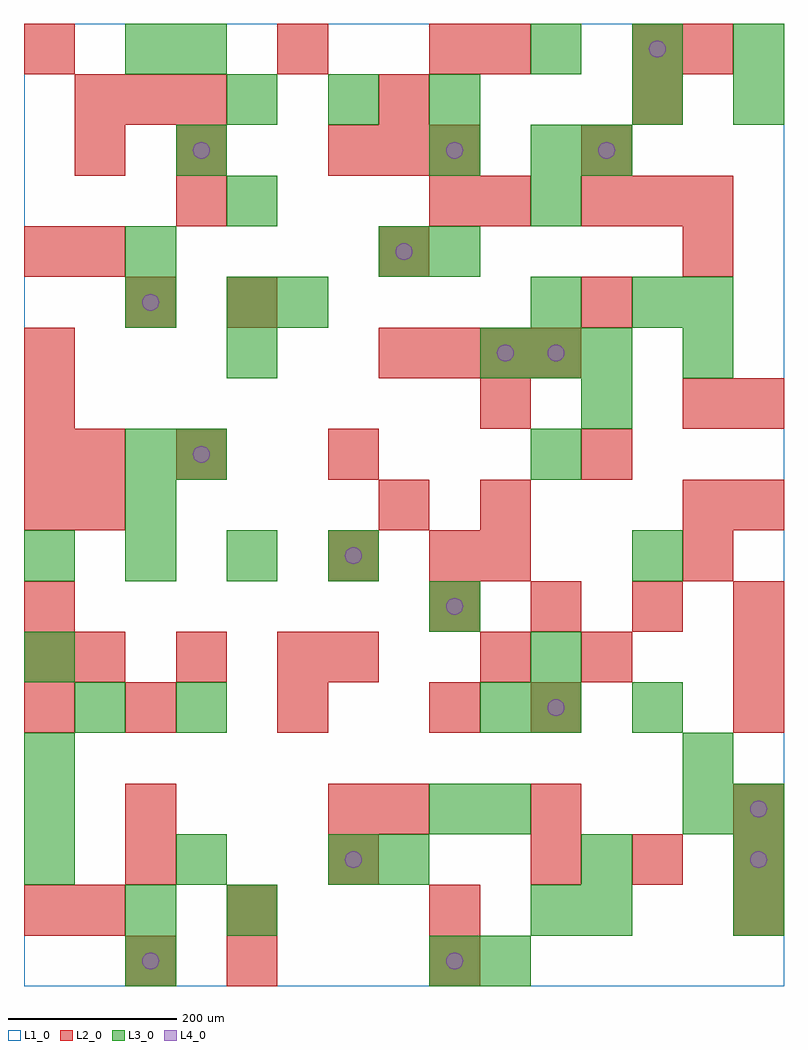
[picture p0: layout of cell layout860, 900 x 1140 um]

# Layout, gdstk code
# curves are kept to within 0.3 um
import gdstk
lib = gdstk.Library(unit=1e-6, precision=1e-09)
def R(c, l, rs):  # rectangles x0, y0, x1, y1
    for r in rs: c.add(gdstk.rectangle(r[:2], r[2:], *l))
def A(c, l, x, y, w, h, nx, ny, dx, dy):  # array of equal rectangles
    R(c, l, [(x+i*dx, y+j*dy, x+i*dx+w, y+j*dy+h) for i in range(nx) for j in range(ny)])
def P(c, l, *ps):  # polygons
    for p in ps: c.add(gdstk.Polygon(p, *l))
L1_0 = (1, 0)
L2_0 = (2, 0)
L3_0 = (3, 0)
L4_0 = (4, 0)

layout860 = lib.new_cell('layout860')
R(layout860, L1_0, [(0,0,900,1140)])
A(layout860, L2_0, 480, 60, 60, 60, 1, 3, 0, 420)
A(layout860, L2_0, 840, 60, 60, 60, 1, 3, 0, 60)
A(layout860, L2_0, 120, 120, 60, 60, 3, 1, 240, 0)
A(layout860, L2_0, 0, 300, 60, 60, 1, 3, 0, 60)
A(layout860, L2_0, 120, 300, 60, 60, 3, 1, 180, 0)
A(layout860, L2_0, 60, 360, 60, 60, 3, 1, 120, 0)
A(layout860, L2_0, 360, 360, 60, 60, 1, 3, 0, 120)
A(layout860, L2_0, 480, 420, 60, 60, 4, 1, 120, 0)
A(layout860, L2_0, 0, 540, 60, 60, 1, 4, 0, 60)
A(layout860, L2_0, 660, 600, 60, 60, 1, 3, 0, 180)
A(layout860, L2_0, 420, 720, 60, 60, 4, 1, 60, 0)
A(layout860, L2_0, 60, 840, 60, 60, 3, 1, 360, 0)
A(layout860, L2_0, 660, 900, 60, 60, 3, 1, 60, 0)
A(layout860, L2_0, 360, 960, 60, 60, 3, 1, 60, 0)
A(layout860, L2_0, 60, 1020, 60, 60, 3, 1, 60, 0)
R(layout860, L2_0, [(120,0,180,60), (240,0,300,60), (480,0,540,60), (0,60,60,120), (60,60,120,120), (240,60,300,120), (720,120,780,180), (120,180,180,240), (360,180,420,240), (420,180,480,240), (600,180,660,240), (600,300,660,360), (840,300,900,360), (540,360,600,420), (660,360,720,420), (840,360,900,420), (540,480,600,540), (780,480,840,540), (60,540,120,600), (420,540,480,600), (540,540,600,600), (780,540,840,600), (840,540,900,600), (60,600,120,660), (180,600,240,660), (540,660,600,720), (780,660,840,720), (840,660,900,720), (120,780,180,840), (240,780,300,840), (0,840,60,900), (180,900,240,960), (540,900,600,960), (60,960,120,1020), (180,960,240,1020), (420,1020,480,1080), (720,1020,780,1080), (0,1080,60,1140), (300,1080,360,1140), (480,1080,540,1140), (540,1080,600,1140), (720,1080,780,1140), (780,1080,840,1140)])
A(layout860, L3_0, 840, 60, 60, 60, 1, 3, 0, 60)
A(layout860, L3_0, 0, 120, 60, 60, 3, 1, 180, 0)
A(layout860, L3_0, 0, 480, 60, 60, 4, 1, 120, 0)
A(layout860, L3_0, 540, 720, 60, 60, 3, 1, 60, 0)
A(layout860, L3_0, 240, 1020, 60, 60, 3, 1, 120, 0)
A(layout860, L3_0, 600, 1080, 60, 60, 3, 1, 120, 0)
R(layout860, L3_0, [(120,0,180,60), (480,0,540,60), (540,0,600,60), (120,60,180,120), (240,60,300,120), (600,60,660,120), (660,60,720,120), (420,120,480,180), (660,120,720,180), (0,180,60,240), (480,180,540,240), (540,180,600,240), (780,180,840,240), (0,240,60,300), (780,240,840,300), (60,300,120,360), (180,300,240,360), (540,300,600,360), (600,300,660,360), (720,300,780,360), (0,360,60,420), (600,360,660,420), (480,420,540,480), (720,480,780,540), (120,540,180,600), (120,600,180,660), (180,600,240,660), (600,600,660,660), (660,660,720,720), (240,720,300,780), (780,720,840,780), (120,780,180,840), (240,780,300,840), (300,780,360,840), (600,780,660,840), (720,780,780,840), (780,780,840,840), (120,840,180,900), (420,840,480,900), (480,840,540,900), (240,900,300,960), (600,900,660,960), (180,960,240,1020), (480,960,540,1020), (600,960,660,1020), (660,960,720,1020), (720,1020,780,1080), (840,1020,900,1080), (120,1080,180,1140), (180,1080,240,1140)])
P(layout860, L4_0, [(160,30),(159.239,33.827),(157.071,37.071),(153.827,39.239),(150,40),(146.173,39.239),(142.929,37.071),(140.761,33.827),(140,30),(140.761,26.173),(142.929,22.929),(146.173,20.761),(150,20),(153.827,20.761),(157.071,22.929),(159.239,26.173)],
  [(160,810),(159.239,813.827),(157.071,817.071),(153.827,819.239),(150,820),(146.173,819.239),(142.929,817.071),(140.761,813.827),(140,810),(140.761,806.173),(142.929,802.929),(146.173,800.761),(150,800),(153.827,800.761),(157.071,802.929),(159.239,806.173)],
  [(220,630),(219.239,633.827),(217.071,637.071),(213.827,639.239),(210,640),(206.173,639.239),(202.929,637.071),(200.761,633.827),(200,630),(200.761,626.173),(202.929,622.929),(206.173,620.761),(210,620),(213.827,620.761),(217.071,622.929),(219.239,626.173)],
  [(220,990),(219.239,993.827),(217.071,997.071),(213.827,999.239),(210,1000),(206.173,999.239),(202.929,997.071),(200.761,993.827),(200,990),(200.761,986.173),(202.929,982.929),(206.173,980.761),(210,980),(213.827,980.761),(217.071,982.929),(219.239,986.173)],
  [(400,150),(399.239,153.827),(397.071,157.071),(393.827,159.239),(390,160),(386.173,159.239),(382.929,157.071),(380.761,153.827),(380,150),(380.761,146.173),(382.929,142.929),(386.173,140.761),(390,140),(393.827,140.761),(397.071,142.929),(399.239,146.173)],
  [(400,510),(399.239,513.827),(397.071,517.071),(393.827,519.239),(390,520),(386.173,519.239),(382.929,517.071),(380.761,513.827),(380,510),(380.761,506.173),(382.929,502.929),(386.173,500.761),(390,500),(393.827,500.761),(397.071,502.929),(399.239,506.173)],
  [(460,870),(459.239,873.827),(457.071,877.071),(453.827,879.239),(450,880),(446.173,879.239),(442.929,877.071),(440.761,873.827),(440,870),(440.761,866.173),(442.929,862.929),(446.173,860.761),(450,860),(453.827,860.761),(457.071,862.929),(459.239,866.173)],
  [(520,30),(519.239,33.827),(517.071,37.071),(513.827,39.239),(510,40),(506.173,39.239),(502.929,37.071),(500.761,33.827),(500,30),(500.761,26.173),(502.929,22.929),(506.173,20.761),(510,20),(513.827,20.761),(517.071,22.929),(519.239,26.173)],
  [(520,450),(519.239,453.827),(517.071,457.071),(513.827,459.239),(510,460),(506.173,459.239),(502.929,457.071),(500.761,453.827),(500,450),(500.761,446.173),(502.929,442.929),(506.173,440.761),(510,440),(513.827,440.761),(517.071,442.929),(519.239,446.173)],
  [(520,990),(519.239,993.827),(517.071,997.071),(513.827,999.239),(510,1000),(506.173,999.239),(502.929,997.071),(500.761,993.827),(500,990),(500.761,986.173),(502.929,982.929),(506.173,980.761),(510,980),(513.827,980.761),(517.071,982.929),(519.239,986.173)],
  [(580,750),(579.239,753.827),(577.071,757.071),(573.827,759.239),(570,760),(566.173,759.239),(562.929,757.071),(560.761,753.827),(560,750),(560.761,746.173),(562.929,742.929),(566.173,740.761),(570,740),(573.827,740.761),(577.071,742.929),(579.239,746.173)],
  [(640,330),(639.239,333.827),(637.071,337.071),(633.827,339.239),(630,340),(626.173,339.239),(622.929,337.071),(620.761,333.827),(620,330),(620.761,326.173),(622.929,322.929),(626.173,320.761),(630,320),(633.827,320.761),(637.071,322.929),(639.239,326.173)],
  [(640,750),(639.239,753.827),(637.071,757.071),(633.827,759.239),(630,760),(626.173,759.239),(622.929,757.071),(620.761,753.827),(620,750),(620.761,746.173),(622.929,742.929),(626.173,740.761),(630,740),(633.827,740.761),(637.071,742.929),(639.239,746.173)],
  [(700,990),(699.239,993.827),(697.071,997.071),(693.827,999.239),(690,1000),(686.173,999.239),(682.929,997.071),(680.761,993.827),(680,990),(680.761,986.173),(682.929,982.929),(686.173,980.761),(690,980),(693.827,980.761),(697.071,982.929),(699.239,986.173)],
  [(760,1110),(759.239,1113.827),(757.071,1117.071),(753.827,1119.239),(750,1120),(746.173,1119.239),(742.929,1117.071),(740.761,1113.827),(740,1110),(740.761,1106.173),(742.929,1102.929),(746.173,1100.761),(750,1100),(753.827,1100.761),(757.071,1102.929),(759.239,1106.173)],
  [(880,150),(879.239,153.827),(877.071,157.071),(873.827,159.239),(870,160),(866.173,159.239),(862.929,157.071),(860.761,153.827),(860,150),(860.761,146.173),(862.929,142.929),(866.173,140.761),(870,140),(873.827,140.761),(877.071,142.929),(879.239,146.173)],
  [(880,210),(879.239,213.827),(877.071,217.071),(873.827,219.239),(870,220),(866.173,219.239),(862.929,217.071),(860.761,213.827),(860,210),(860.761,206.173),(862.929,202.929),(866.173,200.761),(870,200),(873.827,200.761),(877.071,202.929),(879.239,206.173)])

lib.write_gds('layout860.gds')
